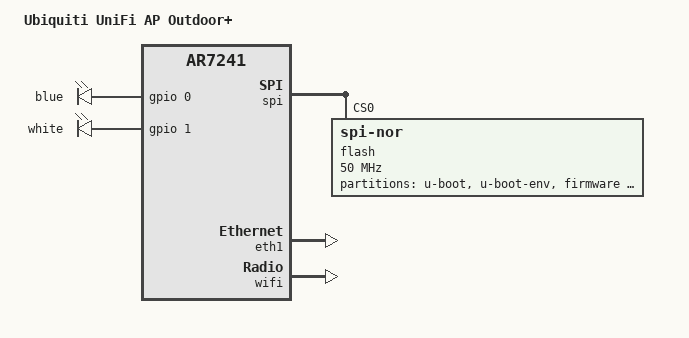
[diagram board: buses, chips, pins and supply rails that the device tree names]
// SPDX-License-Identifier: GPL-2.0-or-later OR MIT

#include "ar7241_ubnt_unifi.dtsi"

/ {
	compatible = "ubnt,unifi-ap-outdoor-plus", "qca,ar7241";
	model = "Ubiquiti UniFi AP Outdoor+";

	aliases {
		led-boot = &led_white;
		led-failsafe = &led_white;
		led-running = &led_blue;
		led-upgrade = &led_blue;
	};

	leds {
		compatible = "gpio-leds";

		led_blue: blue {
			label = "blue";
			gpios = <&gpio 0 GPIO_ACTIVE_HIGH>;
		};

		led_white: white {
			label = "white";
			gpios = <&gpio 1 GPIO_ACTIVE_HIGH>;
		};
	};
};

&spi {
	status = "okay";

	flash@0 {
		compatible = "jedec,spi-nor";
		reg = <0>;
		spi-max-frequency = <50000000>;

		partitions {
			compatible = "fixed-partitions";
			#address-cells = <1>;
			#size-cells = <1>;

			uboot: partition@0 {
				label = "u-boot";
				reg = <0x0 0x40000>;
				read-only;
			};

			partition@40000 {
				label = "u-boot-env";
				reg = <0x40000 0x10000>;
				read-only;
			};

			partition@50000 {
				label = "firmware";
				reg = <0x50000 0xf60000>;

				compatible = "fixed-partitions";
				#address-cells = <1>;
				#size-cells = <1>;

				partition@0 {
					label = "kernel";
					reg = <0x0 0x300000>;
					/* Can be resized w/o issues.
					 * U-Boot can load kernel from the
					 * entirety of the "firmware" partition space.
					 */
				};

				partition@300000 {
					label = "rootfs";
					reg = <0x300000 0xc60000>;
				};
			};

			partition@fb0000 {
				label = "cfg";
				reg = <0xfb0000 0x40000>;
				read-only;
			};

			art: partition@ff0000 {
				label = "art";
				reg = <0xff0000 0x10000>;
				read-only;
			};
		};
	};
};

&eth0 {
	nvmem-cells = <&macaddr_art_0>;
	nvmem-cell-names = "mac-address";
};

&eth1 {
	status = "okay";

	nvmem-cells = <&macaddr_art_6>;
	nvmem-cell-names = "mac-address";
};

&wifi {
	ubnt,hsr;
};

&art {
	compatible = "nvmem-cells";
	#address-cells = <1>;
	#size-cells = <1>;

	macaddr_art_0: macaddr@0 {
		reg = <0x0 0x6>;
	};

	macaddr_art_6: macaddr@6 {
		reg = <0x6 0x6>;
	};
};
